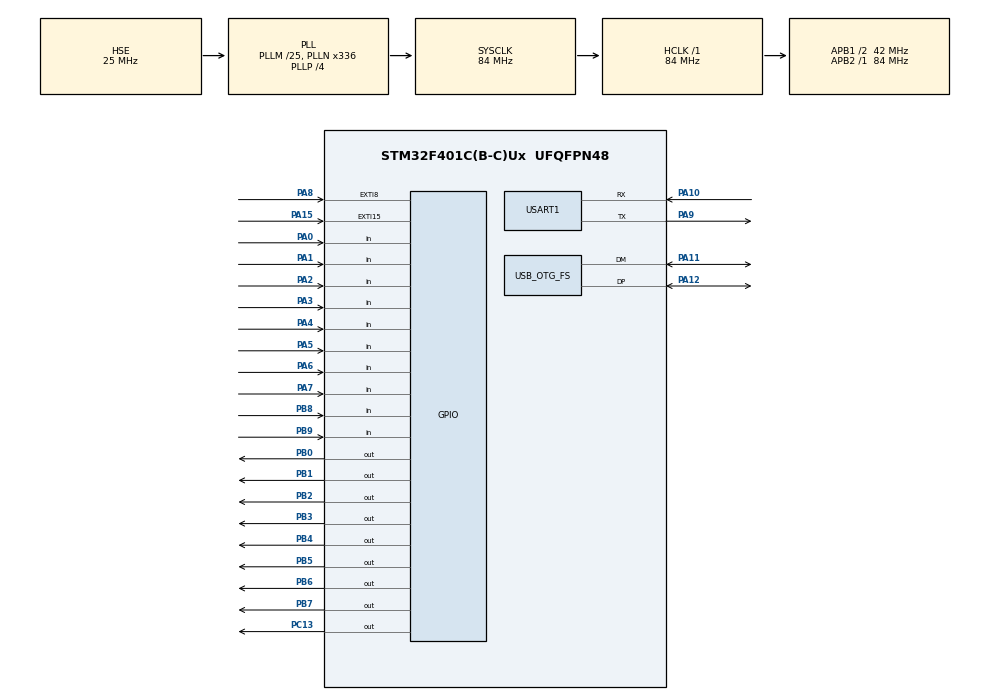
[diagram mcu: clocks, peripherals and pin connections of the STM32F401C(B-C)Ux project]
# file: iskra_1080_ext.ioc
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Mcu.Family=STM32F4
Mcu.Name=STM32F401C(B-C)Ux
Mcu.Package=UFQFPN48
NVIC.EXTI15_10_IRQn=true\:0\:0\:false\:false\:true\:true\:true\:true
NVIC.EXTI9_5_IRQn=true\:0\:0\:false\:false\:true\:true\:true\:true
NVIC.OTG_FS_IRQn=true\:1\:0\:true\:false\:true\:false\:true\:true
NVIC.PriorityGroup=NVIC_PRIORITYGROUP_4
PA0-WKUP.Signal=GPIO_Input
PA1.Signal=GPIO_Input
PA10.Mode=Asynchronous
PA10.Signal=USART1_RX
PA11.Mode=Host_Only
PA11.Signal=USB_OTG_FS_DM
PA12.Mode=Host_Only
PA12.Signal=USB_OTG_FS_DP
PA13.Mode=Serial_Wire
PA13.Signal=SYS_JTMS-SWDIO
PA14.Mode=Serial_Wire
PA14.Signal=SYS_JTCK-SWCLK
PA15.GPIO_ModeDefaultEXTI=GPIO_MODE_IT_FALLING
PA15.GPIO_PuPd=GPIO_NOPULL
PA15.Signal=GPXTI15
PA2.Signal=GPIO_Input
PA3.Signal=GPIO_Input
PA4.Signal=GPIO_Input
PA5.Signal=GPIO_Input
PA6.Signal=GPIO_Input
PA7.Signal=GPIO_Input
PA8.GPIO_ModeDefaultEXTI=GPIO_MODE_IT_FALLING
PA8.GPIO_PuPd=GPIO_NOPULL
PA8.Signal=GPXTI8
PA9.Mode=Asynchronous
PA9.Signal=USART1_TX
PB0.GPIO_Speed=GPIO_SPEED_FREQ_HIGH
PB0.Signal=GPIO_Output
PB1.GPIO_Speed=GPIO_SPEED_FREQ_HIGH
PB1.Signal=GPIO_Output
PB2.GPIO_Speed=GPIO_SPEED_FREQ_HIGH
PB2.Signal=GPIO_Output
PB3.GPIO_Speed=GPIO_SPEED_FREQ_HIGH
PB3.Signal=GPIO_Output
PB4.GPIO_Speed=GPIO_SPEED_FREQ_HIGH
PB4.Signal=GPIO_Output
PB5.GPIO_Speed=GPIO_SPEED_FREQ_HIGH
PB5.Signal=GPIO_Output
PB6.GPIO_Speed=GPIO_SPEED_FREQ_HIGH
PB6.Signal=GPIO_Output
PB7.GPIO_Speed=GPIO_SPEED_FREQ_HIGH
PB7.Signal=GPIO_Output
PB8.Signal=GPIO_Input
PB9.Signal=GPIO_Input
PC13-ANTI_TAMP.Signal=GPIO_Output
PC14-OSC32_IN.Mode=LSE-External-Oscillator
PC14-OSC32_IN.Signal=RCC_OSC32_IN
PC15-OSC32_OUT.Mode=LSE-External-Oscillator
PC15-OSC32_OUT.Signal=RCC_OSC32_OUT
PH0\ -\ OSC_IN.Mode=HSE-External-Oscillator
PH0\ -\ OSC_IN.Signal=RCC_OSC_IN
PH1\ -\ OSC_OUT.Mode=HSE-External-Oscillator
PH1\ -\ OSC_OUT.Signal=RCC_OSC_OUT
ProjectManager.HeapSize=0x200
ProjectManager.StackSize=0x400
ProjectManager.TargetToolchain=Makefile
RCC.48MHZClocksFreq_Value=48000000
RCC.AHBFreq_Value=84000000
RCC.APB1CLKDivider=RCC_HCLK_DIV2
RCC.APB1Freq_Value=42000000
RCC.APB1TimFreq_Value=84000000
RCC.APB2Freq_Value=84000000
RCC.APB2TimFreq_Value=84000000
RCC.CortexFreq_Value=84000000
RCC.HCLKFreq_Value=84000000
RCC.HSE_VALUE=25000000
RCC.HSI_VALUE=16000000
RCC.PLLM=25
RCC.PLLN=336
RCC.PLLP=RCC_PLLP_DIV4
RCC.PLLQ=7
RCC.SYSCLKFreq_VALUE=84000000
RCC.SYSCLKSource=RCC_SYSCLKSOURCE_PLLCLK
RCC.VCOOutputFreq_Value=336000000
USART1.VirtualMode=VM_ASYNC
USB_HOST.USBH_HandleTypeDef=hUsbHostFS
USB_HOST.VirtualModeFS=Msc
USB_OTG_FS.VirtualMode=Host_Only
USB_OTG_FS.phy_itface=HCD_PHY_EMBEDDED
VP_FATFS_VS_USB.Mode=USB
VP_USB_HOST_VS_USB_HOST_MSC_FS.Mode=MSC_FS
board=custom

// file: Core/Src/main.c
/* USER CODE BEGIN Header */
/**
  ******************************************************************************
  * @file           : main.c
  * @brief          : Main program body
  ******************************************************************************
  * @attention
  *
  * Copyright (c) 2023 STMicroelectronics.
  * All rights reserved.
  *
  * This software is licensed under terms that can be found in the LICENSE file
  * in the root directory of this software component.
  * If no LICENSE file comes with this software, it is provided AS-IS.
  *
  ******************************************************************************
  */
/* USER CODE END Header */
#include "main.h"
#include "fatfs.h"
#include "usb_host.h"

/* USER CODE BEGIN Includes */
#include <stdarg.h>
#include <string.h>
#include <stdio.h>
#include <assert.h>
#include "is.h"
/* USER CODE END Includes */

UART_HandleTypeDef huart1;

void SystemClock_Config(void);
static void MX_GPIO_Init(void);
static void MX_USART1_UART_Init(void);
void MX_USB_HOST_Process(void);

int main(void)
{

  /* MCU Configuration--------------------------------------------------------*/

  /* Reset of all peripherals, Initializes the Flash interface and the Systick. */
  HAL_Init();

  /* Configure the system clock */
  SystemClock_Config();

  /* Initialize all configured peripherals */
  MX_GPIO_Init();
  MX_USART1_UART_Init();
  MX_FATFS_Init();
  MX_USB_HOST_Init();
  /* USER CODE BEGIN 2 */
  DebugOutput("Iskra extension " __DATE__ " " __TIME__ "\r\n");
  IsStart();
  /* USER CODE END 2 */

  /* Infinite loop */
  while (1)
  {
    MX_USB_HOST_Process();

    /* USER CODE BEGIN 3 */
    IsProcessCommand();
  }
  /* USER CODE END 3 */
}

void SystemClock_Config(void)
{
  RCC_OscInitTypeDef RCC_OscInitStruct = {0};
  RCC_ClkInitTypeDef RCC_ClkInitStruct = {0};

  /** Configure the main internal regulator output voltage
  */
  __HAL_RCC_PWR_CLK_ENABLE();
  __HAL_PWR_VOLTAGESCALING_CONFIG(PWR_REGULATOR_VOLTAGE_SCALE2);

  /** Initializes the RCC Oscillators according to the specified parameters
  * in the RCC_OscInitTypeDef structure.
  */
  RCC_OscInitStruct.OscillatorType = RCC_OSCILLATORTYPE_HSE;
  RCC_OscInitStruct.HSEState = RCC_HSE_ON;
  RCC_OscInitStruct.PLL.PLLState = RCC_PLL_ON;
  RCC_OscInitStruct.PLL.PLLSource = RCC_PLLSOURCE_HSE;
  RCC_OscInitStruct.PLL.PLLM = 25;
  RCC_OscInitStruct.PLL.PLLN = 336;
  RCC_OscInitStruct.PLL.PLLP = RCC_PLLP_DIV4;
  RCC_OscInitStruct.PLL.PLLQ = 7;
  if (HAL_RCC_OscConfig(&RCC_OscInitStruct) != HAL_OK)
  {
    Error_Handler();
  }

  /** Initializes the CPU, AHB and APB buses clocks
  */
  RCC_ClkInitStruct.ClockType = RCC_CLOCKTYPE_HCLK|RCC_CLOCKTYPE_SYSCLK
                              |RCC_CLOCKTYPE_PCLK1|RCC_CLOCKTYPE_PCLK2;
  RCC_ClkInitStruct.SYSCLKSource = RCC_SYSCLKSOURCE_PLLCLK;
  RCC_ClkInitStruct.AHBCLKDivider = RCC_SYSCLK_DIV1;
  RCC_ClkInitStruct.APB1CLKDivider = RCC_HCLK_DIV2;
  RCC_ClkInitStruct.APB2CLKDivider = RCC_HCLK_DIV1;

  if (HAL_RCC_ClockConfig(&RCC_ClkInitStruct, FLASH_LATENCY_2) != HAL_OK)
  {
    Error_Handler();
  }
}

static void MX_USART1_UART_Init(void)
{

  huart1.Instance = USART1;
  huart1.Init.BaudRate = 115200;
  huart1.Init.WordLength = UART_WORDLENGTH_8B;
  huart1.Init.StopBits = UART_STOPBITS_1;
  huart1.Init.Parity = UART_PARITY_NONE;
  huart1.Init.Mode = UART_MODE_TX_RX;
  huart1.Init.HwFlowCtl = UART_HWCONTROL_NONE;
  huart1.Init.OverSampling = UART_OVERSAMPLING_16;
  if (HAL_UART_Init(&huart1) != HAL_OK)
  {
    Error_Handler();
  }

}

static void MX_GPIO_Init(void)
{
  GPIO_InitTypeDef GPIO_InitStruct = {0};

  /* GPIO Ports Clock Enable */
  __HAL_RCC_GPIOC_CLK_ENABLE();
  __HAL_RCC_GPIOH_CLK_ENABLE();
  __HAL_RCC_GPIOA_CLK_ENABLE();
  __HAL_RCC_GPIOB_CLK_ENABLE();

  /*Configure GPIO pin Output Level */
  HAL_GPIO_WritePin(GPIOC, GPIO_PIN_13, GPIO_PIN_RESET);

  /*Configure GPIO pin Output Level */
  HAL_GPIO_WritePin(GPIOB, GPIO_PIN_0|GPIO_PIN_1|GPIO_PIN_2|GPIO_PIN_3
                          |GPIO_PIN_4|GPIO_PIN_5|GPIO_PIN_6|GPIO_PIN_7, GPIO_PIN_RESET);

  /*Configure GPIO pin : PC13 */
  GPIO_InitStruct.Pin = GPIO_PIN_13;
  GPIO_InitStruct.Mode = GPIO_MODE_OUTPUT_PP;
  GPIO_InitStruct.Pull = GPIO_NOPULL;
  GPIO_InitStruct.Speed = GPIO_SPEED_FREQ_LOW;
  HAL_GPIO_Init(GPIOC, &GPIO_InitStruct);

  /*Configure GPIO pins : PA0 PA1 PA2 PA3
                           PA4 PA5 PA6 PA7 */
  GPIO_InitStruct.Pin = GPIO_PIN_0|GPIO_PIN_1|GPIO_PIN_2|GPIO_PIN_3
                          |GPIO_PIN_4|GPIO_PIN_5|GPIO_PIN_6|GPIO_PIN_7;
  GPIO_InitStruct.Mode = GPIO_MODE_INPUT;
  GPIO_InitStruct.Pull = GPIO_NOPULL;
  HAL_GPIO_Init(GPIOA, &GPIO_InitStruct);

  /*Configure GPIO pins : PB0 PB1 PB2 PB3
                           PB4 PB5 PB6 PB7 */
  GPIO_InitStruct.Pin = GPIO_PIN_0|GPIO_PIN_1|GPIO_PIN_2|GPIO_PIN_3
                          |GPIO_PIN_4|GPIO_PIN_5|GPIO_PIN_6|GPIO_PIN_7;
  GPIO_InitStruct.Mode = GPIO_MODE_OUTPUT_PP;
  GPIO_InitStruct.Pull = GPIO_NOPULL;
  GPIO_InitStruct.Speed = GPIO_SPEED_FREQ_HIGH;
  HAL_GPIO_Init(GPIOB, &GPIO_InitStruct);

  /*Configure GPIO pins : PA8 PA15 */
  GPIO_InitStruct.Pin = GPIO_PIN_8|GPIO_PIN_15;
  GPIO_InitStruct.Mode = GPIO_MODE_IT_FALLING;
  GPIO_InitStruct.Pull = GPIO_NOPULL;
  HAL_GPIO_Init(GPIOA, &GPIO_InitStruct);

  /*Configure GPIO pins : PB8 PB9 */
  GPIO_InitStruct.Pin = GPIO_PIN_8|GPIO_PIN_9;
  GPIO_InitStruct.Mode = GPIO_MODE_INPUT;
  GPIO_InitStruct.Pull = GPIO_NOPULL;
  HAL_GPIO_Init(GPIOB, &GPIO_InitStruct);

  /* EXTI interrupt init*/
  HAL_NVIC_SetPriority(EXTI9_5_IRQn, 0, 0);
  HAL_NVIC_EnableIRQ(EXTI9_5_IRQn);

  HAL_NVIC_SetPriority(EXTI15_10_IRQn, 0, 0);
  HAL_NVIC_EnableIRQ(EXTI15_10_IRQn);

}

/* USER CODE BEGIN 4 */
void DebugOutput(const char format[], ...) {
    assert(format != NULL);
    char buf[128];
    va_list args;
    va_start(args, format);
    const int result = vsnprintf(buf, sizeof(buf), format, args);
    assert(result >= 0);
    va_end(args);
    if (result > 0)
        HAL_UART_Transmit(&huart1, (const uint8_t*)buf, strlen(buf), HAL_MAX_DELAY);
}
/* USER CODE END 4 */

void Error_Handler(void)
{
  __disable_irq();
  while (1)
  {
  }
}
